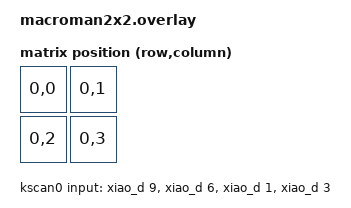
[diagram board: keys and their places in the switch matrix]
/*
 * SPDX-License-Identifier: MIT
 *
 * Macropad 2x2 su Seeed XIAO nRF52840 (seeeduino_xiao_ble).
 *
 * Cablaggio: nessuna matrice, ogni switch collega un pin a GND.
 *   posizione 0 -> D9  (P1.14)
 *   posizione 1 -> D6  (P1.11)
 *   posizione 2 -> D1  (P0.03)
 *   posizione 3 -> D3  (P0.29)  <- tasto funzione
 *
 * GPIO_ACTIVE_LOW | GPIO_PULL_UP: pull-up interno, il tasto tira il pin a massa.
 */

#include <dt-bindings/zmk/matrix_transform.h>
#include <physical_layouts.dtsi>

/ {
    chosen {
        zmk,kscan = &kscan0;
        zmk,physical-layout = &physical_layout0;
    };

    kscan0: kscan {
        compatible = "zmk,kscan-gpio-direct";
        wakeup-source;

        input-gpios
            = <&xiao_d 9 (GPIO_ACTIVE_LOW | GPIO_PULL_UP)>
            , <&xiao_d 6 (GPIO_ACTIVE_LOW | GPIO_PULL_UP)>
            , <&xiao_d 1 (GPIO_ACTIVE_LOW | GPIO_PULL_UP)>
            , <&xiao_d 3 (GPIO_ACTIVE_LOW | GPIO_PULL_UP)>
            ;
    };

    /* Il driver diretto genera eventi con row 0 e colonna = indice in input-gpios. */
    default_transform: keymap_transform0 {
        compatible = "zmk,matrix-transform";
        columns = <4>;
        rows = <1>;
        map = <
        //  D9      D6
            RC(0,0) RC(0,1)
        //  D1      D3 (Fn)
            RC(0,2) RC(0,3)
        >;
    };

    physical_layout0: physical_layout_0 {
        compatible = "zmk,physical-layout";
        display-name = "2x2";
        kscan = <&kscan0>;
        transform = <&default_transform>;

        keys  //                     w   h    x    y   rot   rx   ry
            = <&key_physical_attrs 100 100    0    0     0    0    0>
            , <&key_physical_attrs 100 100  100    0     0    0    0>
            , <&key_physical_attrs 100 100    0  100     0    0    0>
            , <&key_physical_attrs 100 100  100  100     0    0    0>
            ;
    };
};
